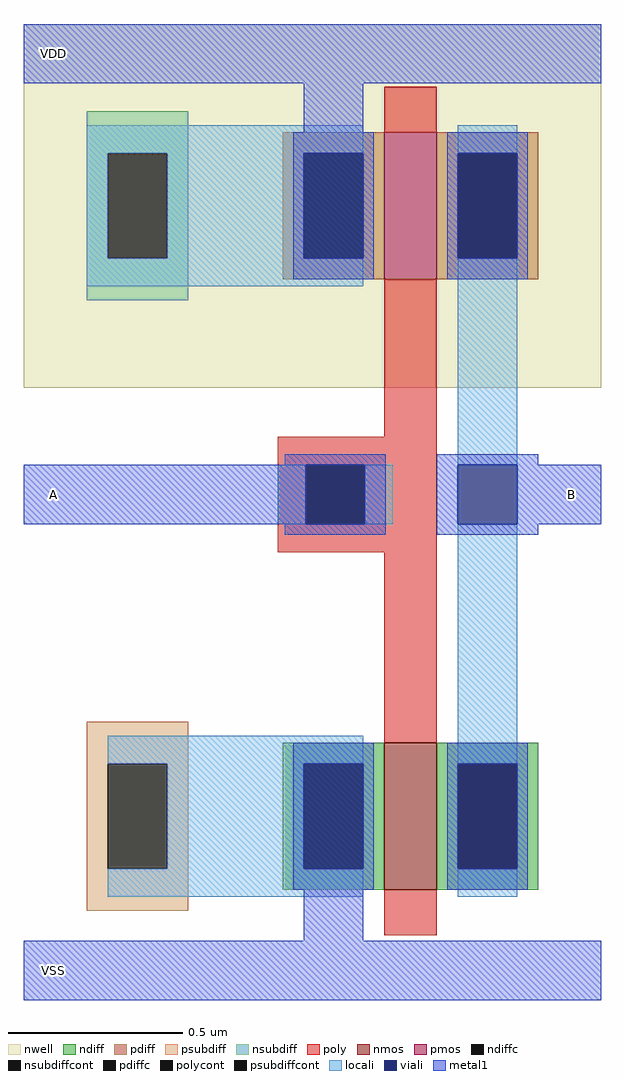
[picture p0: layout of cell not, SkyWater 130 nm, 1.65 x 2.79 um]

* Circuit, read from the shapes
.subckt not A B VDD VSS
XM1 B A VSS VSS sky130_fd_pr__nfet_01v8 w=0.42 l=0.15
XM2 B A VDD VDD sky130_fd_pr__pfet_01v8 w=0.42 l=0.15
.ends

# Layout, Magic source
magic
tech sky130A
magscale 1 2
<< nwell >>
rect 0 441 112 649
<< psubdiff >>
rect 36 226 94 250
rect 36 166 48 226
rect 82 166 94 226
rect 36 142 94 166
<< nsubdiff >>
rect 36 575 94 599
rect 36 515 48 575
rect 82 515 94 575
rect 36 491 94 515
<< psubdiffcont >>
rect 48 166 82 226
<< nsubdiffcont >>
rect 48 515 82 575
<< poly >>
rect 206 413 236 477
rect 145 397 236 413
rect 145 363 161 397
rect 195 363 236 397
rect 145 347 236 363
rect 206 264 236 347
<< polycont >>
rect 161 363 195 397
<< locali >>
rect 36 575 194 591
rect 36 515 48 575
rect 82 515 194 575
rect 36 499 194 515
rect 248 397 282 499
rect 145 363 161 397
rect 195 363 211 397
rect 248 242 282 363
rect 48 226 194 242
rect 82 166 194 226
rect 48 150 194 166
<< viali >>
rect 161 363 195 397
rect 248 363 282 397
<< metal1 >>
rect 0 615 330 649
rect 160 587 194 615
rect 149 397 207 403
rect 0 363 161 397
rect 195 363 207 397
rect 149 357 207 363
rect 236 397 294 403
rect 236 363 248 397
rect 282 363 330 397
rect 236 357 294 363
rect 160 125 194 154
rect 0 91 330 125
use sky130_fd_pr__pfet_01v8_4Y88KP  m1 ~/Desktop/FabRAM/FE/sram130/common
transform 1 0 221 0 1 545
box -109 -104 109 104
use sky130_fd_pr__nfet_01v8_A6LSUL  m2 ~/Desktop/FabRAM/FE/sram130/common
transform 1 0 221 0 1 196
box -73 -68 73 68
<< labels >>
rlabel metal1 296 363 330 397 0 B
rlabel metal1 0 615 34 649 0 VDD
rlabel metal1 0 363 34 397 0 A
rlabel metal1 0 91 34 125 0 VSS
<< end >>

# cell sky130_fd_pr__pfet_01v8_4Y88KP: kit device sky130_fd_pr__pfet_01v8, w 0.42 l 0.15 m 1 nf 1 diffcov 100 polycov 100 guard 0 glc 0 grc 0 gtc 0 gbc 0 tbcov 100 rlcov 100 topc 0 botc 0 poverlap 0 doverlap 0 lmin 0.15 wmin 0.42 compatible {sky130_fd_pr__pfet_01v8 sky130_fd_pr__pfet_01v8_lvt sky130_fd_pr__pfet_01v8_hvt sky130_fd_pr__pfet_g5v0d10v5} full_metal 0 viasrc 100 viadrn 100 viagate 100 viagb 0 viagr 0 viagl 0 viagt 0

# cell sky130_fd_pr__nfet_01v8_A6LSUL: kit device sky130_fd_pr__nfet_01v8, w 0.420 l 0.150 m 1 nf 1 diffcov 100 polycov 100 guard 0 glc 0 grc 0 gtc 0 gbc 0 tbcov 100 rlcov 100 topc 0 botc 0 poverlap 0 doverlap 0 lmin 0.15 wmin 0.42 compatible {sky130_fd_pr__nfet_01v8 sky130_fd_pr__nfet_01v8_lvt sky130_fd_bs_flash__special_sonosfet_star sky130_fd_pr__nfet_g5v0d10v5 sky130_fd_pr__nfet_05v0_nvt sky130_fd_pr__nfet_03v3_nvt} full_metal 0 viasrc 100 viadrn 100 viagate 100 viagb 0 viagr 0 viagl 0 viagt 0
